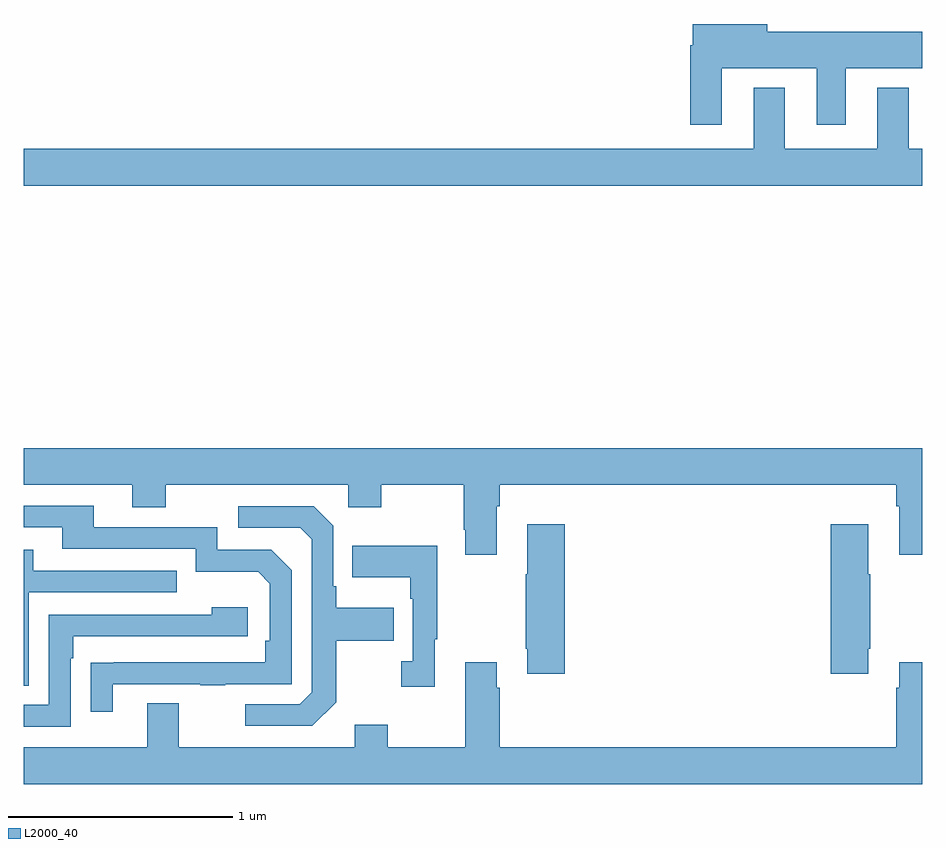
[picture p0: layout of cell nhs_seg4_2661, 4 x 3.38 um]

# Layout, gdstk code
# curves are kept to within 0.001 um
import gdstk
lib = gdstk.Library(unit=1e-6, precision=1e-09)
def P(c, l, *ps):  # polygons
    for p in ps: c.add(gdstk.Polygon(p, *l))
L2000_40 = (2000, 40)

nhs_seg4_2661 = lib.new_cell('nhs_seg4_2661')
P(nhs_seg4_2661, L2000_40, [(254.107,770.702),(254.531,770.702),(254.531,770.451),(254.659,770.451),(254.659,770.702),(255,770.702),(255,770.866),(254.311,770.866),(254.311,770.9),(253.979,770.9),(253.979,770.806),(253.967,770.806),(253.967,770.451),(254.107,770.451)],
  [(255,770.344),(254.941,770.344),(254.941,770.617),(254.801,770.617),(254.801,770.344),(254.389,770.344),(254.389,770.617),(254.249,770.617),(254.249,770.344),(251,770.344),(251,770.18),(255,770.18)],
  [(253.105,768.752),(253.118,768.752),(253.118,768.848),(254.885,768.848),(254.885,768.752),(254.897,768.752),(254.897,768.537),(255,768.537),(255,769.012),(251,769.012),(251,768.848),(251.483,768.848),(251.483,768.749),(251.631,768.749),(251.631,768.848),(252.444,768.848),(252.444,768.749),(252.591,768.749),(252.591,768.848),(252.958,768.848),(252.958,768.649),(252.965,768.649),(252.965,768.537),(253.105,768.537)],
  [(251.395,767.961),(251.785,767.961),(251.785,767.956),(251.897,767.956),(251.897,767.961),(252.192,767.961),(252.192,768.468),(252.102,768.558),(251.862,768.558),(251.862,768.66),(251.311,768.66),(251.311,768.756),(251,768.756),(251,768.66),(251.171,768.66),(251.171,768.564),(251.766,768.564),(251.766,768.461),(252.043,768.461),(252.096,768.408),(252.096,768.154),(252.076,768.154),(252.076,768.057),(251.299,768.056),(251.299,767.838),(251.395,767.838)],
  [(252.391,767.881),(252.391,768.154),(252.647,768.154),(252.647,768.301),(252.391,768.301),(252.391,768.397),(252.378,768.397),(252.378,768.666),(252.291,768.753),(251.955,768.753),(251.955,768.657),(252.231,768.657),(252.282,768.606),(252.282,767.925),(252.228,767.871),(251.985,767.871),(251.985,767.775),(252.285,767.775)],
  [(253.409,768.673),(253.241,768.673),(253.241,768.449),(253.234,768.449),(253.234,768.118),(253.241,768.118),(253.241,768.006),(253.409,768.006)],
  [(254.761,768.118),(254.769,768.118),(254.769,768.449),(254.761,768.449),(254.761,768.673),(254.594,768.673),(254.594,768.006),(254.761,768.006)],
  [(252.829,768.161),(252.841,768.161),(252.841,768.577),(252.463,768.577),(252.463,768.437),(252.72,768.437),(252.72,768.341),(252.732,768.341),(252.732,768.062),(252.681,768.062),(252.681,767.949),(252.829,767.949)],
  [(251.022,768.369),(251.681,768.369),(251.681,768.465),(251.041,768.465),(251.041,768.559),(251,768.559),(251,767.953),(251.022,767.953)],
  [(251.208,768.077),(251.221,768.077),(251.221,768.174),(251.998,768.174),(251.998,768.304),(251.837,768.304),(251.837,768.27),(251.112,768.27),(251.112,767.868),(251,767.868),(251,767.772),(251.208,767.772)],
  [(255,768.058),(254.897,768.058),(254.897,767.945),(254.885,767.945),(254.885,767.68),(253.118,767.68),(253.118,767.945),(253.105,767.945),(253.105,768.058),(252.965,768.058),(252.965,767.68),(252.621,767.68),(252.621,767.779),(252.473,767.779),(252.473,767.68),(251.689,767.68),(251.689,767.875),(251.549,767.875),(251.549,767.68),(251,767.68),(251,767.516),(255,767.516)])

lib.write_gds('nhs_seg4_2661.gds')
